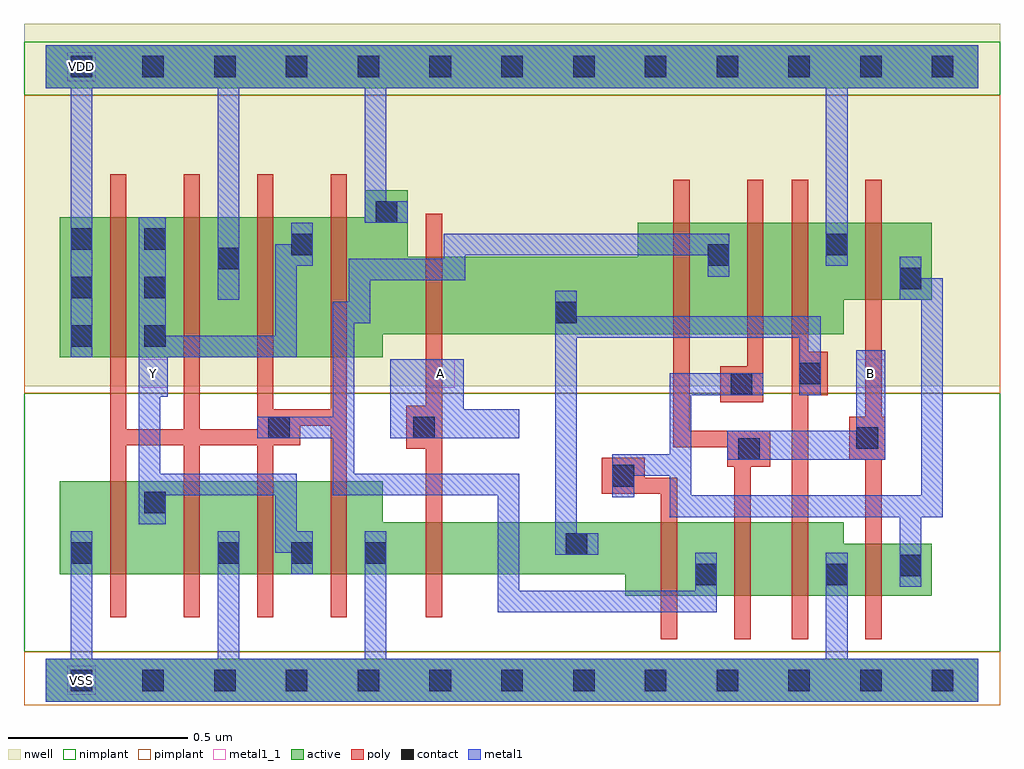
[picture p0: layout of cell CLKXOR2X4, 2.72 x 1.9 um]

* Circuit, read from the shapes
.subckt CLKXOR2X4 A B VDD VSS Y
M1 Y n1 VSS VSS nfet w=0.26u l=0.045u m=4
M2 n2 A VSS VSS nfet w=0.145u l=0.045u
M3 n1 n3 n2 VSS nfet w=0.205u l=0.045u
M4 n4 B n1 VSS nfet w=0.205u l=0.045u
M5 VSS n2 n4 VSS nfet w=0.205u l=0.045u
M6 n3 B VSS VSS nfet w=0.145u l=0.045u
M7 Y n1 VDD VDD pfet w=0.39u l=0.045u m=4
M8 n2 A VDD VDD pfet w=0.215u l=0.045u
M9 n1 B n2 VDD pfet w=0.31u l=0.045u
M10 n5 n3 n1 VDD pfet w=0.31u l=0.045u
M11 VDD n2 n5 VDD pfet w=0.31u l=0.045u
M12 n3 B VDD VDD pfet w=0.215u l=0.045u
.ends

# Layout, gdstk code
import gdstk
lib = gdstk.Library(unit=1e-6, precision=5e-10)
def R(c, l, rs):  # rectangles x0, y0, x1, y1
    for r in rs: c.add(gdstk.rectangle(r[:2], r[2:], *l))
def A(c, l, x, y, w, h, nx, ny, dx, dy):  # array of equal rectangles
    R(c, l, [(x+i*dx, y+j*dy, x+i*dx+w, y+j*dy+h) for i in range(nx) for j in range(ny)])
def P(c, l, *ps):  # polygons
    for p in ps: c.add(gdstk.Polygon(p, *l))
active = (1, 0)
nwell = (2, 0)
poly = (3, 0)
nimplant = (4, 0)
pimplant = (5, 0)
contact = (6, 0)
metal1 = (7, 0)
metal1_1 = (7, 1)

clkxor2x4 = lib.new_cell('CLKXOR2X4')
R(clkxor2x4, active, [(0,-0.06,2.6,0.06), (0,1.65,2.6,1.77)])
P(clkxor2x4, active, [(0.89,1.365),(1.01,1.365),(1.01,1.18),(1.65,1.18),(1.65,1.275),(2.47,1.275),(2.47,1.06),(2.225,1.06),(2.225,0.965),(0.94,0.965),(0.94,0.9),(0.04,0.9),(0.04,1.29),(0.89,1.29)],
  [(0.04,0.555),(0.94,0.555),(0.94,0.44),(2.225,0.44),(2.225,0.38),(2.47,0.38),(2.47,0.235),(1.615,0.235),(1.615,0.295),(0.04,0.295)])
R(clkxor2x4, nwell, [(-0.06,0.82,2.66,1.83)])
P(clkxor2x4, poly, [(0.18,1.41),(0.225,1.41),(0.225,0.7),(0.385,0.7),(0.385,1.41),(0.43,1.41),(0.43,0.7),(0.59,0.7),(0.59,1.41),(0.635,1.41),(0.635,0.755),(0.795,0.755),(0.795,1.41),(0.84,1.41),(0.84,0.175),(0.795,0.175),(0.795,0.71),(0.71,0.71),(0.71,0.655),(0.635,0.655),(0.635,0.175),(0.59,0.175),(0.59,0.655),(0.43,0.655),(0.43,0.175),(0.385,0.175),(0.385,0.655),(0.225,0.655),(0.225,0.175),(0.18,0.175)],
  [(1.06,1.3),(1.105,1.3),(1.105,0.175),(1.06,0.175),(1.06,0.645),(1.005,0.645),(1.005,0.765),(1.06,0.765)],
  [(1.75,1.395),(1.795,1.395),(1.795,0.695),(2.02,0.695),(2.02,0.595),(1.965,0.595),(1.965,0.115),(1.92,0.115),(1.92,0.595),(1.9,0.595),(1.9,0.65),(1.75,0.65)],
  [(1.955,1.395),(2,1.395),(2,0.775),(1.88,0.775),(1.88,0.875),(1.955,0.875)],
  [(2.08,1.395),(2.125,1.395),(2.125,0.915),(2.18,0.915),(2.18,0.795),(2.125,0.795),(2.125,0.115),(2.08,0.115)],
  [(2.285,1.395),(2.33,1.395),(2.33,0.735),(2.34,0.735),(2.34,0.615),(2.33,0.615),(2.33,0.115),(2.285,0.115),(2.285,0.615),(2.24,0.615),(2.24,0.735),(2.285,0.735)],
  [(1.55,0.62),(1.67,0.62),(1.67,0.565),(1.76,0.565),(1.76,0.115),(1.715,0.115),(1.715,0.52),(1.55,0.52)])
R(clkxor2x4, nimplant, [(-0.06,0.08,2.66,0.8), (-0.06,1.63,2.66,1.78)])
R(clkxor2x4, pimplant, [(-0.06,-0.07,2.66,0.08), (-0.06,0.8,2.66,1.63)])
A(clkxor2x4, contact, 0.07, -0.03, 0.06, 0.06, 13, 2, 0.2, 1.71)
A(clkxor2x4, contact, 0.48, 0.325, 0.06, 0.06, 3, 1, 0.205, 0)
A(clkxor2x4, contact, 0.07, 0.93, 0.06, 0.06, 1, 3, 0, 0.135)
A(clkxor2x4, contact, 0.275, 0.93, 0.06, 0.06, 1, 3, 0, 0.135)
R(clkxor2x4, contact, [(1.81,0.265,1.87,0.325), (2.175,0.265,2.235,0.325), (2.38,0.29,2.44,0.35), (0.07,0.325,0.13,0.385), (1.45,0.35,1.51,0.41), (0.275,0.465,0.335,0.525), (1.58,0.54,1.64,0.6), (1.93,0.615,1.99,0.675), (2.26,0.645,2.32,0.705), (0.62,0.675,0.68,0.735), (1.025,0.675,1.085,0.735), (1.91,0.795,1.97,0.855), (2.1,0.825,2.16,0.885), (1.42,0.995,1.48,1.055), (2.38,1.09,2.44,1.15), (0.48,1.145,0.54,1.205), (1.845,1.155,1.905,1.215), (0.685,1.185,0.745,1.245), (2.175,1.185,2.235,1.245), (0.92,1.275,0.98,1.335)])
P(clkxor2x4, metal1, [(0,1.77),(2.6,1.77),(2.6,1.65),(2.235,1.65),(2.235,1.155),(2.175,1.155),(2.175,1.65),(0.95,1.65),(0.95,1.335),(1.01,1.335),(1.01,1.275),(0.89,1.275),(0.89,1.65),(0.54,1.65),(0.54,1.06),(0.48,1.06),(0.48,1.65),(0.13,1.65),(0.13,0.9),(0.07,0.9),(0.07,1.65),(0,1.65)],
  [(0.26,1.29),(0.335,1.29),(0.335,0.96),(0.64,0.96),(0.64,1.215),(0.685,1.215),(0.685,1.275),(0.745,1.275),(0.745,1.155),(0.7,1.155),(0.7,0.9),(0.34,0.9),(0.34,0.79),(0.32,0.79),(0.32,0.575),(0.7,0.575),(0.7,0.415),(0.745,0.415),(0.745,0.295),(0.685,0.295),(0.685,0.355),(0.64,0.355),(0.64,0.515),(0.335,0.515),(0.335,0.435),(0.26,0.435)],
  [(1.11,1.245),(1.905,1.245),(1.905,1.125),(1.845,1.125),(1.845,1.185),(1.17,1.185),(1.17,1.115),(0.905,1.115),(0.905,0.995),(0.86,0.995),(0.86,0.575),(1.32,0.575),(1.32,0.25),(1.81,0.25),(1.81,0.355),(1.87,0.355),(1.87,0.19),(1.26,0.19),(1.26,0.515),(0.8,0.515),(0.8,0.675),(0.59,0.675),(0.59,0.735),(0.8,0.735),(0.8,1.055),(0.845,1.055),(0.845,1.175),(1.11,1.175)],
  [(1.42,1.085),(1.48,1.085),(1.48,1.015),(2.16,1.015),(2.16,0.795),(2.1,0.795),(2.1,0.955),(1.48,0.955),(1.48,0.41),(1.54,0.41),(1.54,0.35),(1.42,0.35)],
  [(2.38,1.18),(2.44,1.18),(2.44,1.12),(2.5,1.12),(2.5,0.455),(2.44,0.455),(2.44,0.26),(2.38,0.26),(2.38,0.455),(1.74,0.455),(1.74,0.57),(1.64,0.57),(1.64,0.51),(1.58,0.51),(1.58,0.63),(1.74,0.63),(1.74,0.855),(2,0.855),(2,0.795),(1.8,0.795),(1.8,0.515),(2.44,0.515),(2.44,1.06),(2.38,1.06)],
  [(0.96,0.895),(1.165,0.895),(1.165,0.755),(1.32,0.755),(1.32,0.675),(0.96,0.675)],
  [(0.07,0.415),(0.13,0.415),(0.13,0.06),(0.48,0.06),(0.48,0.415),(0.54,0.415),(0.54,0.06),(0.89,0.06),(0.89,0.415),(0.95,0.415),(0.95,0.06),(2.175,0.06),(2.175,0.355),(2.235,0.355),(2.235,0.06),(2.6,0.06),(2.6,-0.06),(0,-0.06),(0,0.06),(0.07,0.06)],
  [(2.26,0.92),(2.34,0.92),(2.34,0.615),(1.9,0.615),(1.9,0.695),(2.26,0.695)])
R(clkxor2x4, metal1_1, [(0.06,-0.04,0.14,0.04), (0.26,0.815,0.34,0.895), (1.06,0.815,1.14,0.895), (2.26,0.815,2.34,0.895), (0.06,1.67,0.14,1.75)])
clkxor2x4.add(gdstk.Label('Y', (0.3,0.855), layer=7, texttype=1))
clkxor2x4.add(gdstk.Label('B', (2.3,0.855), layer=7, texttype=1))
clkxor2x4.add(gdstk.Label('A', (1.1,0.855), layer=7, texttype=1))
clkxor2x4.add(gdstk.Label('VDD', (0.1,1.71), layer=7, texttype=1))
clkxor2x4.add(gdstk.Label('VSS', (0.1,0), layer=7, texttype=1))
clkxor2x4.add(gdstk.Label('CLKXOR2X4', (0,0), layer=63, texttype=0))

lib.write_gds('CLKXOR2X4.gds')
